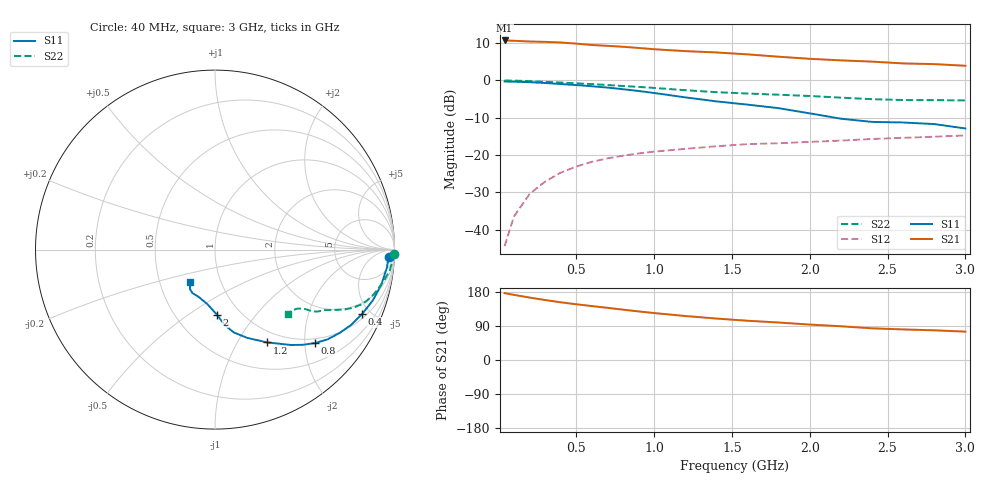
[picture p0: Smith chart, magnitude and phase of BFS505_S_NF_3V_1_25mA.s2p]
! Filename:  BFS505B.S2P  Version:  4.0
! Philips part #: BFS505  Date: Jun 1994
! Bias condition: Vce=3V, Ic=1.25mA
#  MHz  S  MA  R  50
! Freq  S11  S21  S12  S22  !GUM [dB]
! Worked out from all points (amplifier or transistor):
!   21 points, 40 MHz to 3 GHz, reference 50 ohm
!   highest |S21| = 10.7 dB at 40 MHz (marker M1)
!   |S21| within 3 dB of that: start of sweep to 1.28 GHz
!   unconditionally stable (mu >= 1): 1.863 GHz to end of sweep
!   at 300 MHz: K = 0.23, MSG = 18.7 dB, |S12| = -27.1 dB
!   at 1 GHz: K = 0.59, MSG = 13.7 dB, |S12| = -19.1 dB
!   at 3 GHz: K = 1.25, MAG = 6.3 dB, |S12| = -14.8 dB
!   lowest NFmin = 1.00 dB at 500 MHz
!   S11 on the Smith chart (normalised r, x): 40 MHz: 23, -30; 400 MHz: 1.24, -4.46; 800 MHz: 0.90, -2.23; 1.2 GHz: 0.84, -1.34; 2 GHz: 0.78, -0.65; 3 GHz: 0.72, -0.27
40  0.968 -2.4  3.435 176.5  0.006 89.0  0.997 -1.4
100  0.963 -6.0  3.4 171.9  0.015 84.7  0.993 -3.4
200  0.947 -11.9  3.325 164.8  0.03 79.5  0.98 -6.9
300  0.924 -17.8  3.288 158.3  0.044 76.0  0.959 -10.1
400  0.895 -23.6  3.226 152.3  0.058 72.6  0.937 -13.2
500  0.867 -28.9  3.115 147.1  0.07 69.3  0.915 -16.2
600  0.836 -33.7  2.986 142.3  0.081 66.7  0.892 -18.7
700  0.802 -38.6  2.911 137.7  0.09 64.6  0.868 -20.7
800  0.763 -43.0  2.827 132.9  0.098 62.6  0.843 -22.3
900  0.722 -47.3  2.725 128.2  0.105 60.5  0.819 -23.6
1000  0.679 -51.5  2.619 123.9  0.111 58.5  0.794 -24.9
1200  0.593 -60.7  2.472 116.1  0.121 55.3  0.74 -27.0
1400  0.524 -69.9  2.373 109.4  0.131 53.9  0.696 -29.0
1600  0.474 -77.1  2.237 103.6  0.14 52.8  0.668 -31.1
1800  0.425 -82.6  2.08 98.9  0.144 52.8  0.643 -32.4
2000  0.362 -88.4  1.949 93.5  0.15 52.8  0.619 -32.9
2200  0.307 -97.9  1.858 89.0  0.156 53.1  0.588 -33.9
2400  0.278 -109.5  1.788 83.6  0.164 53.1  0.561 -36.0
2600  0.273 -117.6  1.691 80.7  0.17 53.6  0.546 -38.9
2800  0.26 -122.5  1.655 78.3  0.176 55.6  0.544 -40.8
3000  0.227 -127.2  1.573 74.9  0.183 56.9  0.54 -41.5
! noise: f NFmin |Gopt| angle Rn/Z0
500  1  0.716  9  0.77
900  1.2  0.659  12  0.74
2000  1.9  0.505  37  0.58
